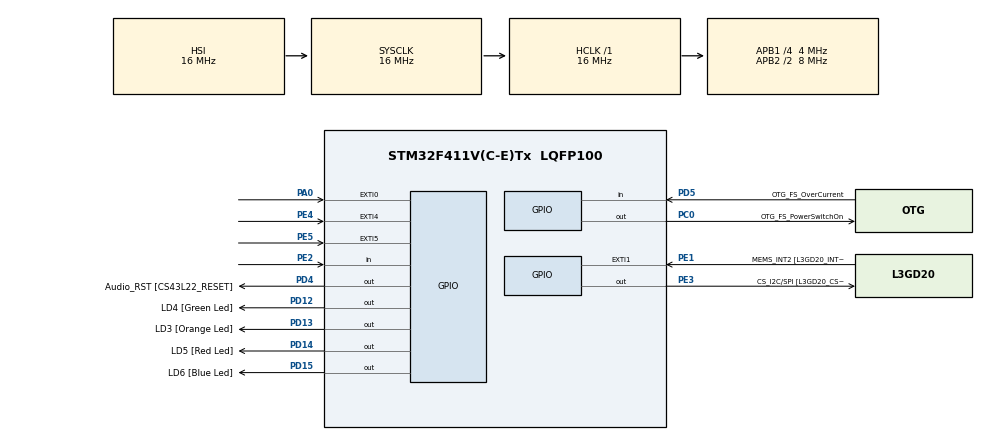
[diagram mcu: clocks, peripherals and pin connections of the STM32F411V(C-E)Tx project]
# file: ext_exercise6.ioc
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Mcu.Family=STM32F4
Mcu.Name=STM32F411V(C-E)Tx
Mcu.Package=LQFP100
NVIC.PriorityGroup=NVIC_PRIORITYGROUP_0
NVIC.TIM1_UP_TIM10_IRQn=true\:0\:0\:false\:false\:true\:false\:true
NVIC.TimeBase=TIM1_UP_TIM10_IRQn
NVIC.TimeBaseIP=TIM1
PA0-WKUP.GPIO_ModeDefaultEXTI=GPIO_MODE_EVT_RISING
PA0-WKUP.Signal=GPXTI0
PA10.GPIO_Label=OTG_FS_ID
PA10.Signal=USB_OTG_FS_ID
PA11.GPIO_Label=OTG_FS_DM
PA11.Signal=USB_OTG_FS_DM
PA12.GPIO_Label=OTG_FS_DP
PA12.Signal=USB_OTG_FS_DP
PA13.GPIO_Label=SWDIO
PA13.Signal=SYS_JTMS-SWDIO
PA14.GPIO_Label=SWCLK
PA14.Signal=SYS_JTCK-SWCLK
PA4.GPIO_Label=I2S3_WS [CS43L22_LRCK]
PA4.GPIO_Mode=GPIO_MODE_AF_PP
PA4.GPIO_PuPd=GPIO_NOPULL
PA4.GPIO_Speed=GPIO_SPEED_FREQ_LOW
PA4.Signal=I2S3_WS
PA5.GPIO_Label=SPI1_SCK [L3GD20_SC/SPC]
PA5.Signal=SPI1_SCK
PA6.GPIO_Label=SPI1_MISO [L3GD20_AS0/SDO]
PA6.Signal=SPI1_MISO
PA7.GPIO_Label=SPI1_MOSI [L3GD20_SDA/SDI/SDO]
PA7.Signal=SPI1_MOSI
PA9.GPIO_Label=VBUS_FS
PA9.Signal=USB_OTG_FS_VBUS
PB10.GPIO_Label=CLK_IN [MP45DT02_CLK]
PB10.Signal=I2S2_CK
PB12.Signal=I2S2_WS
PB3.GPIO_Label=SWO
PB3.Signal=SYS_JTDO-SWO
PB6.GPIO_Label=Audio_SCL [CS43L22_SCL]
PB6.GPIO_Mode=GPIO_MODE_AF_OD
PB6.GPIO_PuPd=GPIO_NOPULL
PB6.GPIO_Speed=GPIO_SPEED_FREQ_LOW
PB6.Signal=I2C1_SCL
PB9.GPIO_Label=Audio_SDA [CS43L22_SDA]
PB9.GPIO_Mode=GPIO_MODE_AF_OD
PB9.GPIO_PuPd=GPIO_NOPULL
PB9.GPIO_Speed=GPIO_SPEED_FREQ_LOW
PB9.Signal=I2C1_SDA
PC0.GPIO_Label=OTG_FS_PowerSwitchOn
PC0.PinState=GPIO_PIN_SET
PC0.Signal=GPIO_Output
PC10.GPIO_Label=I2S3_SCK [CS43L22_SCLK]
PC10.GPIO_Mode=GPIO_MODE_AF_PP
PC10.GPIO_PuPd=GPIO_NOPULL
PC10.GPIO_Speed=GPIO_SPEED_FREQ_LOW
PC10.Signal=I2S3_CK
PC12.GPIO_Label=I2S3_SD [CS43L22_SDIN]
PC12.GPIO_Mode=GPIO_MODE_AF_PP
PC12.GPIO_PuPd=GPIO_NOPULL
PC12.GPIO_Speed=GPIO_SPEED_FREQ_LOW
PC12.Signal=I2S3_SD
PC14-OSC32_IN.GPIO_Label=PC14-OSC32_IN
PC14-OSC32_IN.Signal=RCC_OSC32_IN
PC15-OSC32_OUT.GPIO_Label=PC15-OSC32_OUT
PC15-OSC32_OUT.Signal=RCC_OSC32_OUT
PC3.GPIO_Label=PDM_OUT [MP45DT02_DOUT]
PC3.Signal=I2S2_SD
PC7.GPIO_Label=I2S3_MCK [CS43L22_MCLK]
PC7.GPIO_Mode=GPIO_MODE_AF_PP
PC7.GPIO_PuPd=GPIO_NOPULL
PC7.GPIO_Speed=GPIO_SPEED_FREQ_LOW
PC7.Signal=I2S3_MCK
PD12.GPIO_Label=LD4 [Green Led]
PD12.GPIO_PuPd=GPIO_NOPULL
PD12.GPIO_Speed=GPIO_SPEED_FREQ_LOW
PD12.Signal=GPIO_Output
PD13.GPIO_Label=LD3 [Orange Led]
PD13.GPIO_PuPd=GPIO_NOPULL
PD13.GPIO_Speed=GPIO_SPEED_FREQ_LOW
PD13.Signal=GPIO_Output
PD14.GPIO_Label=LD5 [Red Led]
PD14.GPIO_PuPd=GPIO_NOPULL
PD14.GPIO_Speed=GPIO_SPEED_FREQ_LOW
PD14.Signal=GPIO_Output
PD15.GPIO_Label=LD6 [Blue Led]
PD15.GPIO_PuPd=GPIO_NOPULL
PD15.GPIO_Speed=GPIO_SPEED_FREQ_LOW
PD15.Signal=GPIO_Output
PD4.GPIO_Label=Audio_RST [CS43L22_RESET]
PD4.Signal=GPIO_Output
PD5.GPIO_Label=OTG_FS_OverCurrent
PD5.Signal=GPIO_Input
PE1.GPIO_Label=MEMS_INT2 [L3GD20_INT2]
PE1.GPIO_ModeDefaultEXTI=GPIO_MODE_EVT_RISING
PE1.Signal=GPXTI1
PE2.Signal=GPIO_Input
PE3.GPIO_Label=CS_I2C/SPI [L3GD20_CS_I2C/SPI]
PE3.Signal=GPIO_Output
PE4.GPIO_ModeDefaultEXTI=GPIO_MODE_EVT_RISING
PE4.Signal=GPXTI4
PE5.GPIO_ModeDefaultEXTI=GPIO_MODE_EVT_RISING
PE5.Signal=GPXTI5
PH0\ -\ OSC_IN.GPIO_Label=PH0-OSC_IN
PH0\ -\ OSC_IN.Signal=RCC_OSC_IN
PH1\ -\ OSC_OUT.GPIO_Label=PH1-OSC_OUT
PH1\ -\ OSC_OUT.Signal=RCC_OSC_OUT
ProjectManager.HeapSize=0x200
ProjectManager.StackSize=0x400
ProjectManager.TargetToolchain=STM32CubeIDE
RCC.48MHZClocksFreq_Value=48000000
RCC.AHBFreq_Value=16000000
RCC.APB1CLKDivider=RCC_HCLK_DIV4
RCC.APB1Freq_Value=4000000
RCC.APB1TimFreq_Value=8000000
RCC.APB2CLKDivider=RCC_HCLK_DIV2
RCC.APB2Freq_Value=8000000
RCC.APB2TimFreq_Value=16000000
RCC.CortexFreq_Value=16000000
RCC.HCLKFreq_Value=16000000
RCC.HSE_VALUE=8000000
RCC.HSI_VALUE=16000000
RCC.LSE_VALUE=32768
RCC.PLLI2SM=5
RCC.PLLI2SN=200
RCC.PLLM=8
RCC.PLLP=RCC_PLLP_DIV4
RCC.PLLQ=8
RCC.SYSCLKFreq_VALUE=16000000
RCC.VCOOutputFreq_Value=384000000
TIM2.Period=1000000
TIM2.Prescaler=40000
VP_SYS_VS_tim1.Mode=TIM1
VP_TIM2_VS_ClockSourceINT.Mode=Internal
board=STM32F411E-DISCO

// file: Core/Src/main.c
/* USER CODE BEGIN Header */
/**
  ******************************************************************************
  * @file           : main.c
  * @brief          : Main program body
  ******************************************************************************
  * @attention
  *
  * <h2><center>&copy; Copyright (c) 2021 STMicroelectronics.
  * All rights reserved.</center></h2>
  *
  * This software component is licensed by ST under BSD 3-Clause license,
  * the "License"; You may not use this file except in compliance with the
  * License. You may obtain a copy of the License at:
  *                        opensource.org/licenses/BSD-3-Clause
  *
  ******************************************************************************
  */
/* USER CODE END Header */

#include "main.h"

/* USER CODE BEGIN PD */
#define RED GPIO_PIN_14
#define GREEN GPIO_PIN_12
#define BLUE GPIO_PIN_15
/* USER CODE END PD */

TIM_HandleTypeDef htim2;

void SystemClock_Config(void);
static void MX_GPIO_Init(void);
static void MX_TIM2_Init(void);

/* USER CODE BEGIN 0 */
void WaitUntilPressed(){
	while(HAL_GPIO_ReadPin(GPIOA, GPIO_PIN_0) == GPIO_PIN_RESET);
	return;
}

void WaitUntilReleased(){
	while(HAL_GPIO_ReadPin(GPIOA, GPIO_PIN_0) == GPIO_PIN_SET);
	return;
}

int count1, count2 = 0;
int ToF = 0;
/* USER CODE END 0 */

int main(void)
{

  /* MCU Configuration--------------------------------------------------------*/

  /* Reset of all peripherals, Initializes the Flash interface and the Systick. */
  HAL_Init();

  /* Configure the system clock */
  SystemClock_Config();

  /* Initialize all configured peripherals */
  MX_GPIO_Init();
  MX_TIM2_Init();

  /* Infinite loop */
  while (1)
  {

    /* USER CODE BEGIN 3 */
	  WaitUntilPressed();
	  HAL_GPIO_WritePin(GPIOD, RED, GPIO_PIN_SET);
	  TIM2->CNT = 0;
	  count1 = TIM2->CNT;
	  HAL_TIM_Base_Start_IT(&htim2);
	  WaitUntilReleased();
	  HAL_GPIO_WritePin(GPIOD, RED, GPIO_PIN_RESET);

	  WaitUntilPressed();
	  HAL_GPIO_WritePin(GPIOD, BLUE, GPIO_PIN_SET);
	  count2 = TIM2->CNT;
	  WaitUntilReleased();
	  HAL_GPIO_WritePin(GPIOD, BLUE, GPIO_PIN_RESET);

	  ToF = count2/200;
  }
  /* USER CODE END 3 */
}

void SystemClock_Config(void)
{
  RCC_OscInitTypeDef RCC_OscInitStruct = {0};
  RCC_ClkInitTypeDef RCC_ClkInitStruct = {0};

  /** Configure the main internal regulator output voltage
  */
  __HAL_RCC_PWR_CLK_ENABLE();
  __HAL_PWR_VOLTAGESCALING_CONFIG(PWR_REGULATOR_VOLTAGE_SCALE1);
  /** Initializes the CPU, AHB and APB busses clocks
  */
  RCC_OscInitStruct.OscillatorType = RCC_OSCILLATORTYPE_HSI;
  RCC_OscInitStruct.HSIState = RCC_HSI_ON;
  RCC_OscInitStruct.HSICalibrationValue = RCC_HSICALIBRATION_DEFAULT;
  RCC_OscInitStruct.PLL.PLLState = RCC_PLL_NONE;
  if (HAL_RCC_OscConfig(&RCC_OscInitStruct) != HAL_OK)
  {
    Error_Handler();
  }
  /** Initializes the CPU, AHB and APB busses clocks
  */
  RCC_ClkInitStruct.ClockType = RCC_CLOCKTYPE_HCLK|RCC_CLOCKTYPE_SYSCLK
                              |RCC_CLOCKTYPE_PCLK1|RCC_CLOCKTYPE_PCLK2;
  RCC_ClkInitStruct.SYSCLKSource = RCC_SYSCLKSOURCE_HSI;
  RCC_ClkInitStruct.AHBCLKDivider = RCC_SYSCLK_DIV1;
  RCC_ClkInitStruct.APB1CLKDivider = RCC_HCLK_DIV4;
  RCC_ClkInitStruct.APB2CLKDivider = RCC_HCLK_DIV2;

  if (HAL_RCC_ClockConfig(&RCC_ClkInitStruct, FLASH_LATENCY_0) != HAL_OK)
  {
    Error_Handler();
  }
}

static void MX_TIM2_Init(void)
{

  TIM_ClockConfigTypeDef sClockSourceConfig = {0};
  TIM_MasterConfigTypeDef sMasterConfig = {0};

  htim2.Instance = TIM2;
  htim2.Init.Prescaler = 40000;
  htim2.Init.CounterMode = TIM_COUNTERMODE_UP;
  htim2.Init.Period = 1000000;
  htim2.Init.ClockDivision = TIM_CLOCKDIVISION_DIV1;
  htim2.Init.AutoReloadPreload = TIM_AUTORELOAD_PRELOAD_DISABLE;
  if (HAL_TIM_Base_Init(&htim2) != HAL_OK)
  {
    Error_Handler();
  }
  sClockSourceConfig.ClockSource = TIM_CLOCKSOURCE_INTERNAL;
  if (HAL_TIM_ConfigClockSource(&htim2, &sClockSourceConfig) != HAL_OK)
  {
    Error_Handler();
  }
  sMasterConfig.MasterOutputTrigger = TIM_TRGO_RESET;
  sMasterConfig.MasterSlaveMode = TIM_MASTERSLAVEMODE_DISABLE;
  if (HAL_TIMEx_MasterConfigSynchronization(&htim2, &sMasterConfig) != HAL_OK)
  {
    Error_Handler();
  }

}

static void MX_GPIO_Init(void)
{
  GPIO_InitTypeDef GPIO_InitStruct = {0};

  /* GPIO Ports Clock Enable */
  __HAL_RCC_GPIOE_CLK_ENABLE();
  __HAL_RCC_GPIOC_CLK_ENABLE();
  __HAL_RCC_GPIOH_CLK_ENABLE();
  __HAL_RCC_GPIOA_CLK_ENABLE();
  __HAL_RCC_GPIOB_CLK_ENABLE();
  __HAL_RCC_GPIOD_CLK_ENABLE();

  /*Configure GPIO pin Output Level */
  HAL_GPIO_WritePin(CS_I2C_SPI_GPIO_Port, CS_I2C_SPI_Pin, GPIO_PIN_RESET);

  /*Configure GPIO pin Output Level */
  HAL_GPIO_WritePin(OTG_FS_PowerSwitchOn_GPIO_Port, OTG_FS_PowerSwitchOn_Pin, GPIO_PIN_SET);

  /*Configure GPIO pin Output Level */
  HAL_GPIO_WritePin(GPIOD, LD4_Pin|LD3_Pin|LD5_Pin|LD6_Pin
                          |Audio_RST_Pin, GPIO_PIN_RESET);

  /*Configure GPIO pin : PE2 */
  GPIO_InitStruct.Pin = GPIO_PIN_2;
  GPIO_InitStruct.Mode = GPIO_MODE_INPUT;
  GPIO_InitStruct.Pull = GPIO_NOPULL;
  HAL_GPIO_Init(GPIOE, &GPIO_InitStruct);

  /*Configure GPIO pin : CS_I2C_SPI_Pin */
  GPIO_InitStruct.Pin = CS_I2C_SPI_Pin;
  GPIO_InitStruct.Mode = GPIO_MODE_OUTPUT_PP;
  GPIO_InitStruct.Pull = GPIO_NOPULL;
  GPIO_InitStruct.Speed = GPIO_SPEED_FREQ_LOW;
  HAL_GPIO_Init(CS_I2C_SPI_GPIO_Port, &GPIO_InitStruct);

  /*Configure GPIO pins : PE4 PE5 MEMS_INT2_Pin */
  GPIO_InitStruct.Pin = GPIO_PIN_4|GPIO_PIN_5|MEMS_INT2_Pin;
  GPIO_InitStruct.Mode = GPIO_MODE_EVT_RISING;
  GPIO_InitStruct.Pull = GPIO_NOPULL;
  HAL_GPIO_Init(GPIOE, &GPIO_InitStruct);

  /*Configure GPIO pin : OTG_FS_PowerSwitchOn_Pin */
  GPIO_InitStruct.Pin = OTG_FS_PowerSwitchOn_Pin;
  GPIO_InitStruct.Mode = GPIO_MODE_OUTPUT_PP;
  GPIO_InitStruct.Pull = GPIO_NOPULL;
  GPIO_InitStruct.Speed = GPIO_SPEED_FREQ_LOW;
  HAL_GPIO_Init(OTG_FS_PowerSwitchOn_GPIO_Port, &GPIO_InitStruct);

  /*Configure GPIO pin : PDM_OUT_Pin */
  GPIO_InitStruct.Pin = PDM_OUT_Pin;
  GPIO_InitStruct.Mode = GPIO_MODE_AF_PP;
  GPIO_InitStruct.Pull = GPIO_NOPULL;
  GPIO_InitStruct.Speed = GPIO_SPEED_FREQ_LOW;
  GPIO_InitStruct.Alternate = GPIO_AF5_SPI2;
  HAL_GPIO_Init(PDM_OUT_GPIO_Port, &GPIO_InitStruct);

  /*Configure GPIO pin : PA0 */
  GPIO_InitStruct.Pin = GPIO_PIN_0;
  GPIO_InitStruct.Mode = GPIO_MODE_EVT_RISING;
  GPIO_InitStruct.Pull = GPIO_NOPULL;
  HAL_GPIO_Init(GPIOA, &GPIO_InitStruct);

  /*Configure GPIO pin : I2S3_WS_Pin */
  GPIO_InitStruct.Pin = I2S3_WS_Pin;
  GPIO_InitStruct.Mode = GPIO_MODE_AF_PP;
  GPIO_InitStruct.Pull = GPIO_NOPULL;
  GPIO_InitStruct.Speed = GPIO_SPEED_FREQ_LOW;
  GPIO_InitStruct.Alternate = GPIO_AF6_SPI3;
  HAL_GPIO_Init(I2S3_WS_GPIO_Port, &GPIO_InitStruct);

  /*Configure GPIO pins : SPI1_SCK_Pin SPI1_MISO_Pin SPI1_MOSI_Pin */
  GPIO_InitStruct.Pin = SPI1_SCK_Pin|SPI1_MISO_Pin|SPI1_MOSI_Pin;
  GPIO_InitStruct.Mode = GPIO_MODE_AF_PP;
  GPIO_InitStruct.Pull = GPIO_NOPULL;
  GPIO_InitStruct.Speed = GPIO_SPEED_FREQ_VERY_HIGH;
  GPIO_InitStruct.Alternate = GPIO_AF5_SPI1;
  HAL_GPIO_Init(GPIOA, &GPIO_InitStruct);

  /*Configure GPIO pins : CLK_IN_Pin PB12 */
  GPIO_InitStruct.Pin = CLK_IN_Pin|GPIO_PIN_12;
  GPIO_InitStruct.Mode = GPIO_MODE_AF_PP;
  GPIO_InitStruct.Pull = GPIO_NOPULL;
  GPIO_InitStruct.Speed = GPIO_SPEED_FREQ_LOW;
  GPIO_InitStruct.Alternate = GPIO_AF5_SPI2;
  HAL_GPIO_Init(GPIOB, &GPIO_InitStruct);

  /*Configure GPIO pins : LD4_Pin LD3_Pin LD5_Pin LD6_Pin
                           Audio_RST_Pin */
  GPIO_InitStruct.Pin = LD4_Pin|LD3_Pin|LD5_Pin|LD6_Pin
                          |Audio_RST_Pin;
  GPIO_InitStruct.Mode = GPIO_MODE_OUTPUT_PP;
  GPIO_InitStruct.Pull = GPIO_NOPULL;
  GPIO_InitStruct.Speed = GPIO_SPEED_FREQ_LOW;
  HAL_GPIO_Init(GPIOD, &GPIO_InitStruct);

  /*Configure GPIO pins : I2S3_MCK_Pin I2S3_SCK_Pin I2S3_SD_Pin */
  GPIO_InitStruct.Pin = I2S3_MCK_Pin|I2S3_SCK_Pin|I2S3_SD_Pin;
  GPIO_InitStruct.Mode = GPIO_MODE_AF_PP;
  GPIO_InitStruct.Pull = GPIO_NOPULL;
  GPIO_InitStruct.Speed = GPIO_SPEED_FREQ_LOW;
  GPIO_InitStruct.Alternate = GPIO_AF6_SPI3;
  HAL_GPIO_Init(GPIOC, &GPIO_InitStruct);

  /*Configure GPIO pin : VBUS_FS_Pin */
  GPIO_InitStruct.Pin = VBUS_FS_Pin;
  GPIO_InitStruct.Mode = GPIO_MODE_INPUT;
  GPIO_InitStruct.Pull = GPIO_NOPULL;
  HAL_GPIO_Init(VBUS_FS_GPIO_Port, &GPIO_InitStruct);

  /*Configure GPIO pins : OTG_FS_ID_Pin OTG_FS_DM_Pin OTG_FS_DP_Pin */
  GPIO_InitStruct.Pin = OTG_FS_ID_Pin|OTG_FS_DM_Pin|OTG_FS_DP_Pin;
  GPIO_InitStruct.Mode = GPIO_MODE_AF_PP;
  GPIO_InitStruct.Pull = GPIO_NOPULL;
  GPIO_InitStruct.Speed = GPIO_SPEED_FREQ_VERY_HIGH;
  GPIO_InitStruct.Alternate = GPIO_AF10_OTG_FS;
  HAL_GPIO_Init(GPIOA, &GPIO_InitStruct);

  /*Configure GPIO pin : OTG_FS_OverCurrent_Pin */
  GPIO_InitStruct.Pin = OTG_FS_OverCurrent_Pin;
  GPIO_InitStruct.Mode = GPIO_MODE_INPUT;
  GPIO_InitStruct.Pull = GPIO_NOPULL;
  HAL_GPIO_Init(OTG_FS_OverCurrent_GPIO_Port, &GPIO_InitStruct);

  /*Configure GPIO pins : Audio_SCL_Pin Audio_SDA_Pin */
  GPIO_InitStruct.Pin = Audio_SCL_Pin|Audio_SDA_Pin;
  GPIO_InitStruct.Mode = GPIO_MODE_AF_OD;
  GPIO_InitStruct.Pull = GPIO_PULLUP;
  GPIO_InitStruct.Speed = GPIO_SPEED_FREQ_LOW;
  GPIO_InitStruct.Alternate = GPIO_AF4_I2C1;
  HAL_GPIO_Init(GPIOB, &GPIO_InitStruct);

}

void HAL_TIM_PeriodElapsedCallback(TIM_HandleTypeDef *htim)
{
  if (htim->Instance == TIM1) {
    HAL_IncTick();
  }
}

void Error_Handler(void)
{
}

/************************ (C) COPYRIGHT STMicroelectronics *****END OF FILE****/
